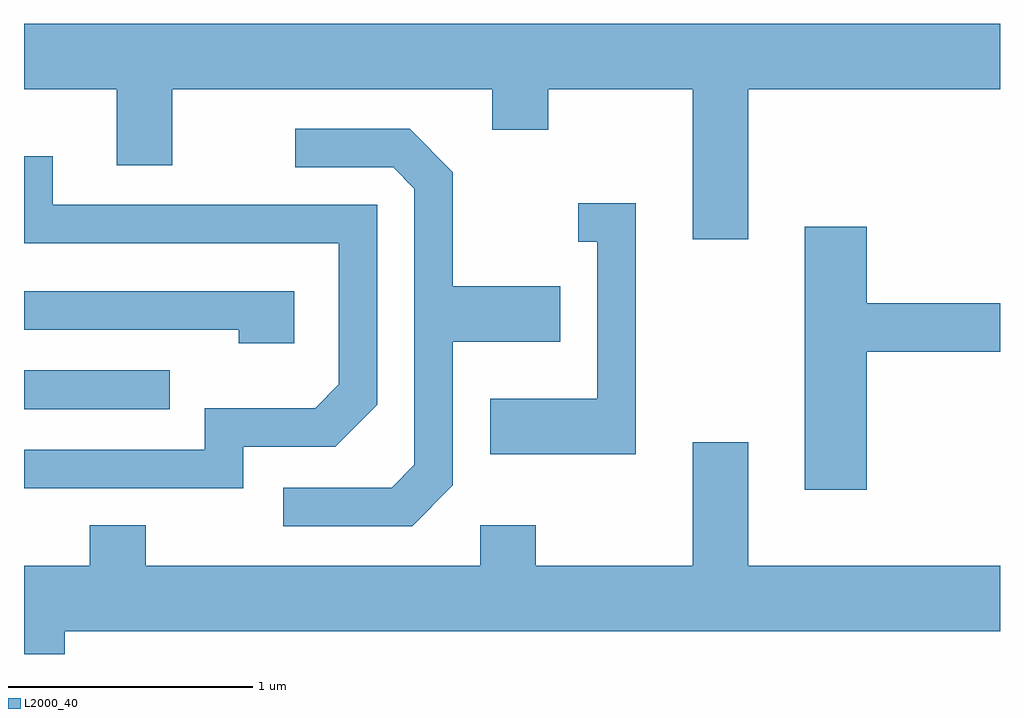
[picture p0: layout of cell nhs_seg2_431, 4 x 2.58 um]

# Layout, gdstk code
import gdstk
lib = gdstk.Library(unit=1e-6, precision=1e-09)
def R(c, l, rs):  # rectangles x0, y0, x1, y1
    for r in rs: c.add(gdstk.rectangle(r[:2], r[2:], *l))
def P(c, l, *ps):  # polygons
    for p in ps: c.add(gdstk.Polygon(p, *l))
L2000_40 = (2000, 40)

nhs_seg2_431 = lib.new_cell('nhs_seg2_431')
R(nhs_seg2_431, L2000_40, [(197.611,1024.806,198.208,1024.964)])
P(nhs_seg2_431, L2000_40, [(200.579,1026.116),(201.611,1026.116),(201.611,1026.384),(197.611,1026.384),(197.611,1026.116),(197.991,1026.116),(197.991,1025.806),(198.219,1025.806),(198.219,1026.116),(199.531,1026.116),(199.531,1025.951),(199.759,1025.951),(199.759,1026.116),(200.351,1026.116),(200.351,1025.501),(200.579,1025.501)],
  [(199.369,1024.494),(199.369,1025.081),(199.809,1025.081),(199.809,1025.309),(199.369,1025.309),(199.369,1025.777),(199.192,1025.954),(198.723,1025.954),(198.723,1025.796),(199.124,1025.796),(199.211,1025.709),(199.211,1024.577),(199.119,1024.484),(198.673,1024.484),(198.673,1024.326),(199.202,1024.326)],
  [(198.509,1024.651),(198.887,1024.651),(199.059,1024.824),(199.059,1025.644),(197.729,1025.644),(197.729,1025.843),(197.611,1025.843),(197.611,1025.486),(198.901,1025.486),(198.901,1024.907),(198.804,1024.809),(198.351,1024.809),(198.351,1024.639),(197.611,1024.639),(197.611,1024.481),(198.509,1024.481)],
  [(200.119,1025.649),(199.883,1025.649),(199.883,1025.491),(199.961,1025.491),(199.961,1024.849),(199.521,1024.849),(199.521,1024.621),(200.119,1024.621)],
  [(201.064,1025.041),(201.611,1025.041),(201.611,1025.239),(201.064,1025.239),(201.064,1025.554),(200.811,1025.554),(200.811,1024.476),(201.064,1024.476)],
  [(198.719,1025.289),(197.611,1025.289),(197.611,1025.131),(198.491,1025.131),(198.491,1025.076),(198.719,1025.076)],
  [(197.779,1023.896),(201.611,1023.896),(201.611,1024.164),(200.579,1024.164),(200.579,1024.669),(200.351,1024.669),(200.351,1024.164),(199.709,1024.164),(199.709,1024.329),(199.481,1024.329),(199.481,1024.164),(198.109,1024.164),(198.109,1024.329),(197.881,1024.329),(197.881,1024.164),(197.611,1024.164),(197.611,1023.802),(197.779,1023.802)])

lib.write_gds('nhs_seg2_431.gds')
